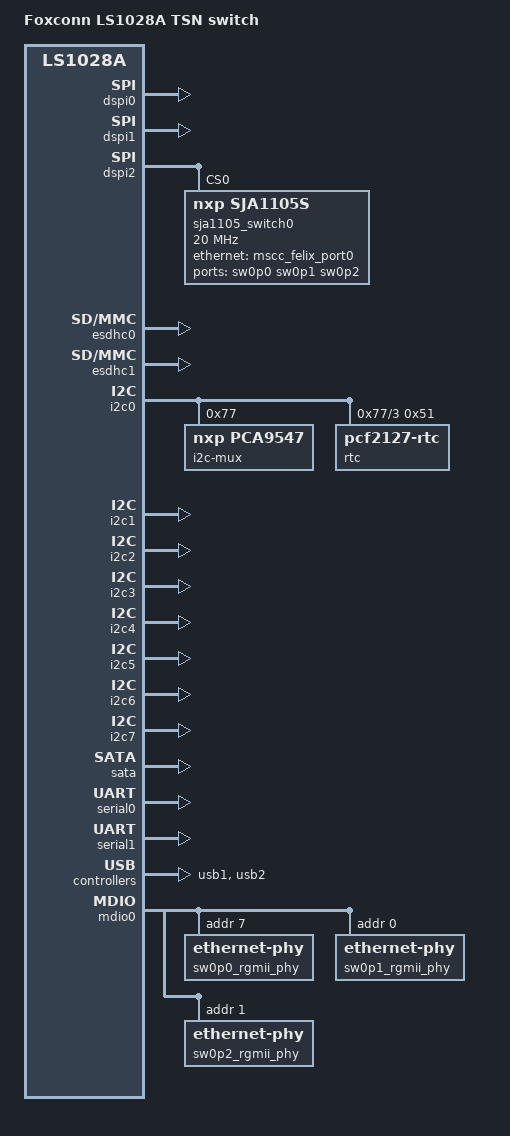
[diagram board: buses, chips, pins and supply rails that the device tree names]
// SPDX-License-Identifier: GPL-2.0+ OR X11
/*
 * Foxconn LS1028A TSN device tree
 *
 * Copyright 2020 NXP
 *
 */

/dts-v1/;

#include "fsl-ls1028a.dtsi"

/ {
	model = "Foxconn LS1028A TSN switch";
	compatible = "fsl,ls1028a-rdb", "fsl,ls1028a";

	aliases {
		eth0 = &enetc2;
		eth1 = &mscc_felix_port0;
		eth2 = &sja1105_port0;
		eth3 = &sja1105_port1;
		eth4 = &sja1105_port2;
		eth5 = &sja1105_port3;
	};
};

&dspi0 {
	status = "okay";
};

&dspi1 {
	status = "okay";
};

&dspi2 {
	bus-num = <2>;
	status = "okay";

	sja1105_switch0: ethernet-switch@0 {
		reg = <0x0>;
		#address-cells = <1>;
		#size-cells = <0>;
		compatible = "nxp,sja1105s";
		dsa,member = <1 0>;
		spi-max-frequency = <20000000>;
		/* Sample data on trailing clock edge */
		spi-cpha;
		/* SPI controller settings for SJA1105 timing requirements */
		fsl,spi-cs-sck-delay = <1000>;
		fsl,spi-sck-cs-delay = <1000>;

		ports {
			#address-cells = <1>;
			#size-cells = <0>;

			sja1105_port0: port@0 {
				label = "sw0p0";
				phy-handle = <&sw0p0_rgmii_phy>;
				phy-mode = "rgmii-id";
				reg = <0>;
			};

			sja1105_port1: port@1 {
				label = "sw0p1";
				phy-handle = <&sw0p1_rgmii_phy>;
				phy-mode = "rgmii-id";
				reg = <1>;
			};

			sja1105_port2: port@2 {
				label = "sw0p2";
				phy-handle = <&sw0p2_rgmii_phy>;
				phy-mode = "rgmii-id";
				reg = <2>;
			};

			sja1105_port3: port@3 {
				reg = <3>;
				status = "disabled";
			};

			sja1105_port4: port@4 {
				ethernet = <&mscc_felix_port0>;
				phy-mode = "sgmii";
				reg = <4>;

				fixed-link {
					speed = <1000>;
					full-duplex;
				};
			};
		};
	};
};

&esdhc0 {
	status = "okay";
};

&esdhc1 {
	status = "okay";
	mmc-hs200-1_8v;
};

&i2c0 {
	status = "okay";
	u-boot,dm-pre-reloc;

	i2c-mux@77 {

		compatible = "nxp,pca9547";
		reg = <0x77>;
		#address-cells = <1>;
		#size-cells = <0>;

		i2c@3 {
			#address-cells = <1>;
			#size-cells = <0>;
			reg = <0x3>;

			rtc@51 {
				compatible = "pcf2127-rtc";
				reg = <0x51>;
			};
		};
	};
};

&i2c1 {
	status = "okay";
};

&i2c2 {
	status = "okay";
};

&i2c3 {
	status = "okay";
};

&i2c4 {
	status = "okay";
};

&i2c5 {
	status = "okay";
};

&i2c6 {
	status = "okay";
};

&i2c7 {
	status = "okay";
};

&sata {
	status = "okay";
};

&serial0 {
	status = "okay";
};

&serial1 {
	status = "okay";
};

&usb1 {
	status = "okay";
};

&usb2 {
	status = "okay";
};

&ethsw_ports {
	mscc_felix_port0: port@0 {
		status = "okay";
		phy-mode = "sgmii";

		fixed-link {
			speed = <1000>;
			full-duplex;
		};
	};
};

&mdio0 {
	status = "okay";

	/* RTL8211FSI */
	sw0p0_rgmii_phy: ethernet-phy@7 {
		reg = <0x7>;
	};

	/* VSC8502 RGMII dual PHY */
	sw0p1_rgmii_phy: ethernet-phy@0 {
		reg = <0x0>;
	};

	sw0p2_rgmii_phy: ethernet-phy@1 {
		reg = <0x1>;
	};
};
